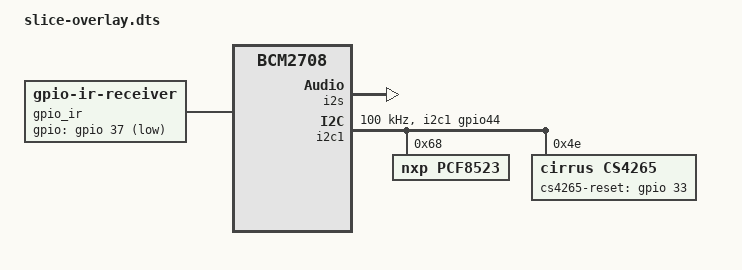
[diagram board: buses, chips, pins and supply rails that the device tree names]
// Definitions for Slice hardware
/dts-v1/;
/plugin/;

#include "dt-bindings/clock/bcm2835.h"
#include "dt-bindings/pinctrl/bcm2835.h"

/ {
  compatible = "brcm,bcm2708";

  // disable analog audio
  fragment@0 {
    target = <&audio>;
    __overlay__ {
      status = "disabled";
    };
  };

  // pinctrl definitions
  fragment@1 {
    target = <&gpio>;
    __overlay__ {
      // configure I2S to GPIO 28-31
      slice_i2s_pins: slice_i2s_pins {
        brcm,pins = <28 29 30 31>;
        brcm,function = <BCM2835_FSEL_ALT2>;
      };
      slice_ir_pins: slice_ir_pins {
        brcm,pins = <37>;
        brcm,function = <BCM2835_FSEL_GPIO_IN>;
        brcm,pull = <BCM2835_PUD_DOWN>;
      };
      cs4265_reset_pins: cs4265_reset_pins {
        brcm,pins = <33>;
        brcm,function = <BCM2835_FSEL_GPIO_OUT>;
      };
    };
  };

  // IR receiver
  fragment@2 {
    target-path = "/";
    __overlay__ {
      gpio_ir: ir-receiver {
        compatible = "gpio-ir-receiver";
        pinctrl-names = "default";
        pinctrl-0 = <&slice_ir_pins>;
        gpios = <&gpio 37 1>;
        linux,rc-map-name = "rc-rc6-mce";
        status = "okay";
      };
    };
  };

  // enable I2S
  fragment@3 {
    target = <&i2s>;
    __overlay__ {
      pinctrl-names = "default";
      pinctrl-0 = <&slice_i2s_pins>;
      status = "okay";
    };
  };

  // I2C
  fragment@4 {
    target = <&i2c1>;
    __overlay__ {
      #address-cells = <1>;
      #size-cells = <0>;
      status = "okay";

      pinctrl-names = "default";
      pinctrl-0 = <&i2c1_gpio44>; // use GPIO 44/45 for I2C1

      clock-frequency = <100000>;

      pcf8523@68 {
        compatible = "nxp,pcf8523";
        reg = <0x68>;
        nxp,xtalcap-7pf; // set crystal load to 7pf
        status = "okay";
      };

      cs4265@4e {
        #sound-dai-cells = <0>;
        compatible = "cirrus,cs4265";
        reg = <0x4e>;

        pinctrl-names = "default";
        pinctrl-0 = <&cs4265_reset_pins>;

        cs4265-reset-gpios = <&gpio 33 0>; /* AUD_RST_N on GPIO33 */
        cirrus,no-s16le; // remove S16LE support to workaround I2S controller issue
        status = "okay";
      };
    };
  };

  // Audio driver
  fragment@5 {
    target = <&sound>;
    __overlay__ {
      compatible = "fiveninjas,slice";
      clocks = <&clocks BCM2835_CLOCK_GP0>;
      clock-names = "gp0";
      i2s-controller = <&i2s>;
      status = "okay";
    };
  };

};
